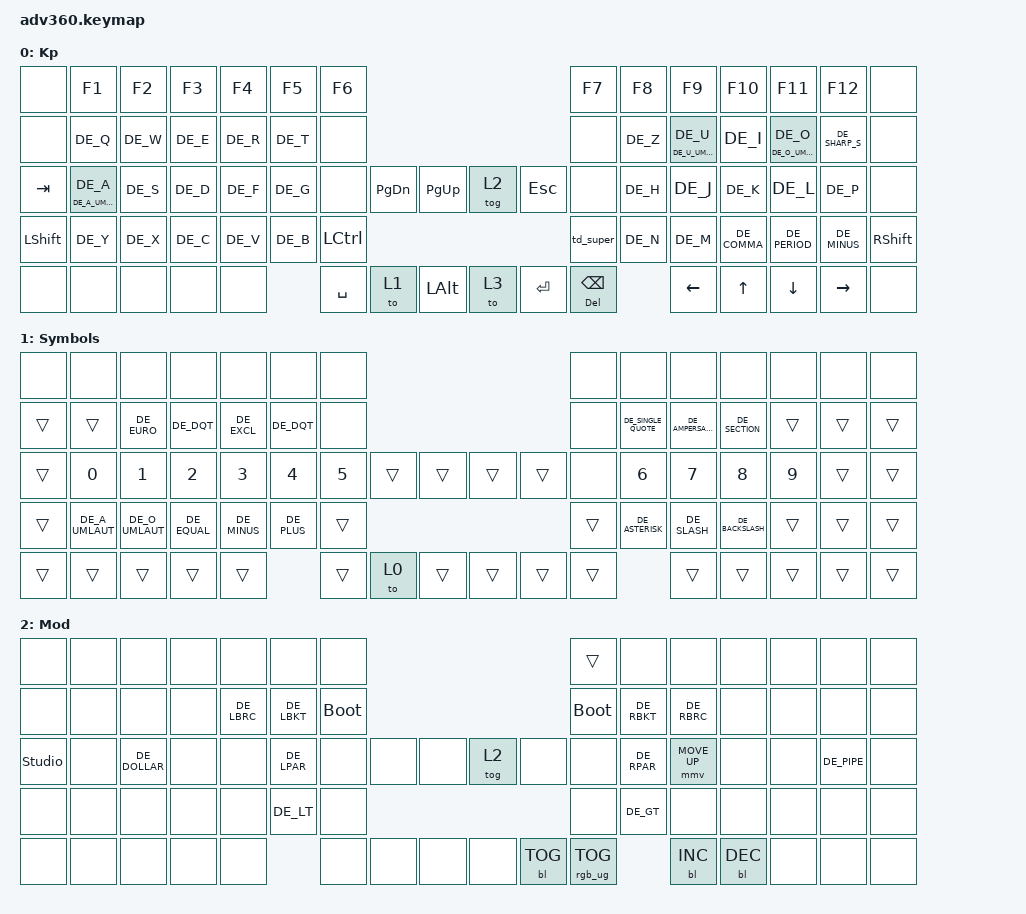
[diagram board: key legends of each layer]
#include <dt-bindings/zmk/stp.h>
#include <behaviors.dtsi>
#include <dt-bindings/zmk/backlight.h>
#include <dt-bindings/zmk/keys.h>
#include <dt-bindings/zmk/pointing.h>
#include <dt-bindings/zmk/rgb.h>
#include "keys_de.h"  // Deutsches Layout, Datei liegt in config/

/ {
    behaviors {
        #include "macros.dtsi"
        #include "version.dtsi"

        hm: homerow_mods {
            compatible = "zmk,behavior-hold-tap";
            label = "HOMEROW_MODS";
            #binding-cells = <2>;
            tapping-term-ms = <200>;
            quick-tap-ms = <175>;
            flavor = "tap-preferred";
            bindings = <&kp>, <&kp>;
        };

        // Hold = Umlaut, Tap = Buchstabe. Nutzung: &umlaut DE_A_UMLAUT DE_A
        umlaut: umlaut_hold_tap {
            compatible = "zmk,behavior-hold-tap";
            label = "UMLAUT_HOLD_TAP";
            #binding-cells = <2>;
            flavor = "tap-preferred";
            tapping-term-ms = <210>;
            bindings = <&kp>, <&kp>;
        };

        // Tap = Backspace, Hold = Delete. Nutzung: &bs_del DELETE BACKSPACE
        bs_del: backspace_delete {
            compatible = "zmk,behavior-hold-tap";
            label = "BACKSPACE_DELETE";
            #binding-cells = <2>;
            flavor = "tap-preferred";
            tapping-term-ms = <210>;
            quick-tap-ms = <200>;
            bindings = <&kp>, <&kp>;
        };

        // Tap-Dance: 1x tippen = Super (LGUI), 2x tippen = Strg + Super (LCTRL + LGUI)
        td_super: tap_dance_super {
            compatible = "zmk,behavior-tap-dance";
            label = "TAP_DANCE_SUPER";
            #binding-cells = <0>;
            tapping-term-ms = <200>;
            bindings = <&kp LGUI>, <&kp LC(LGUI)>;
        };
    };

    keymap {
        compatible = "zmk,keymap";

        keypad {
            display-name = "Kp";
            bindings = <
&none      &kp F1      &kp F2      &kp F3      &kp F4      &kp F5      &kp F6                                                                                           &kp F7         &kp F8      &kp F9                    &kp F10                   &kp F11             &kp F12            &none
&none      &kp DE_Q    &kp DE_W    &kp DE_E    &kp DE_R    &kp DE_T    &none                                                                                            &none          &kp DE_Z    &umlaut DE_U_UMLAUT DE_U  &kp DE_I                  &umlaut DE_O_UMLAUT DE_O  &kp DE_SHARP_S  &none
&kp TAB    &umlaut DE_A_UMLAUT DE_A  &kp DE_S  &kp DE_D  &kp DE_F  &kp DE_G  &none    &kp PAGE_DOWN  &kp PAGE_UP                  &tog 2     &kp ESCAPE  &none          &kp DE_H       &kp DE_J    &kp DE_K                  &kp DE_L                  &kp DE_P            &none
&kp LSHFT  &kp DE_Y    &kp DE_X    &kp DE_C    &kp DE_V    &kp DE_B                                &kp LEFT_CONTROL  &td_super                                                &kp DE_N       &kp DE_M    &kp DE_COMMA              &kp DE_PERIOD             &kp DE_MINUS        &kp RSHFT
&none      &none       &none       &none       &none                                   &kp SPACE   &to 1          &kp LEFT_ALT                   &to 3      &kp ENTER   &bs_del DELETE BACKSPACE   &kp LEFT       &kp UP_ARROW  &kp DOWN                &kp RIGHT                 &none
            >;
        };

        NumbersAndMath {
            display-name = "Symbols";
            bindings = <
&none   &none            &none            &none              &none            &none              &none                                                &none   &none            &none            &none                 &none            &none   &none
&trans  &trans           &kp DE_EURO      &kp DE_DQT         &kp DE_EXCL      &kp DE_DQT         &none                                                &none   &kp DE_SINGLE_QUOTE  &kp DE_AMPERSAND  &kp DE_SECTION   &trans           &trans  &trans
&trans  &kp N0           &kp N1           &kp N2             &kp N3           &kp N4             &kp N5           &trans  &trans      &trans  &trans  &none   &kp N6           &kp N7           &kp N8                &kp N9           &trans  &trans
&trans  &kp DE_A_UMLAUT  &kp DE_O_UMLAUT  &kp DE_EQUAL        &kp DE_MINUS     &kp DE_PLUS                                 &trans      &trans                  &kp DE_ASTERISK  &kp DE_SLASH     &kp DE_BACKSLASH      &trans           &trans  &trans
&trans  &trans           &trans           &trans             &trans                              &trans           &to 0   &trans      &trans  &trans  &trans                   &trans           &trans                &trans           &trans  &trans
            >;
        };

        mod {
            display-name = "Mod";
            bindings = <
&none           &none  &none          &none  &none           &none                 &none                                             &trans           &none                  &none            &none       &none  &none        &none
&none           &none  &none          &none  &kp DE_LBRC     &kp DE_LBKT           &bootloader                                       &bootloader      &kp DE_RBKT            &kp DE_RBRC      &none       &none  &none        &none
&studio_unlock  &none  &kp DE_DOLLAR  &none  &none           &kp DE_LPAR           &none        &none  &none      &tog 2  &none       &none            &kp DE_RPAR            &mmv MOVE_UP     &none       &none  &kp DE_PIPE  &none
&none           &none  &none          &none  &none           &kp DE_LT                                 &none      &none                               &kp DE_GT              &none            &none       &none  &none        &none
&none           &none  &none          &none  &none                                 &none        &none  &none      &none  &bl BL_TOG  &rgb_ug RGB_TOG                         &bl BL_INC       &bl BL_DEC  &none  &none        &none
            >;
        };

        extra1 {
            display-name = "Red";
            status = "reserved";
        };

        extra2 {
            display-name = "Purple";
            status = "reserved";
        };

        extra3 {
            display-name = "Cyan";
            status = "reserved";
        };

        extra4 {
            display-name = "Yellow";
            status = "reserved";
        };
    };
};
